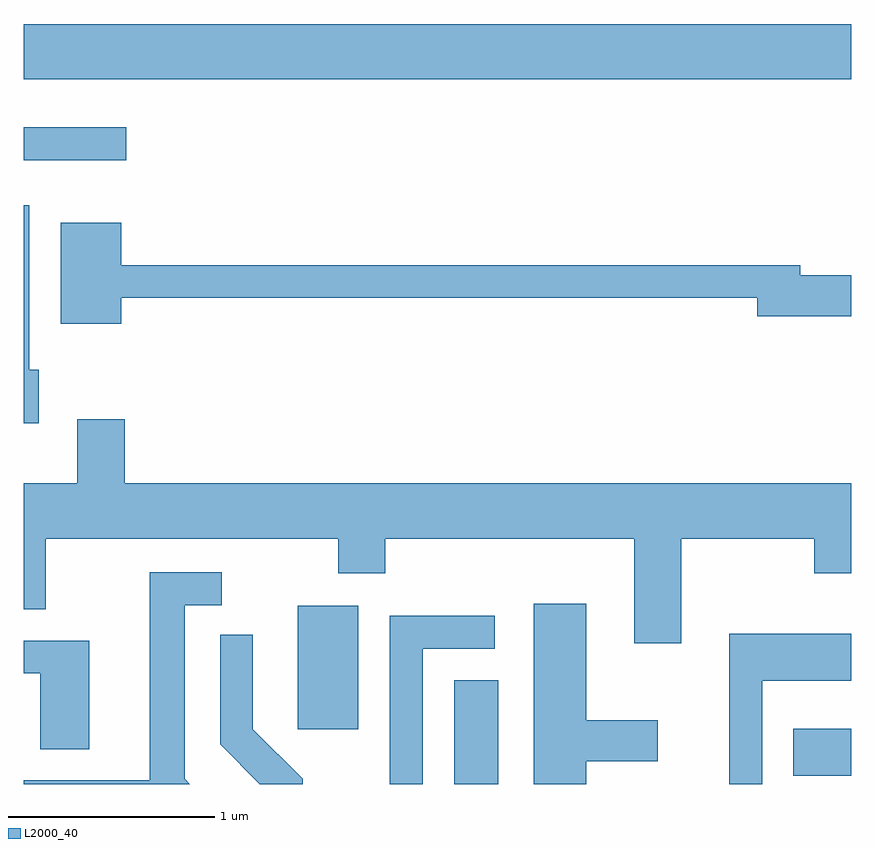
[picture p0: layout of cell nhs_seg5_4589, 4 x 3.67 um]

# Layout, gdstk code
import gdstk
lib = gdstk.Library(unit=1e-6, precision=1e-09)
def R(c, l, rs):  # rectangles x0, y0, x1, y1
    for r in rs: c.add(gdstk.rectangle(r[:2], r[2:], *l))
def P(c, l, *ps):  # polygons
    for p in ps: c.add(gdstk.Polygon(p, *l))
L2000_40 = (2000, 40)

nhs_seg5_4589 = lib.new_cell('nhs_seg5_4589')
R(nhs_seg5_4589, L2000_40, [(323.691,1440.072,323.904,1440.574), (325.331,1440.111,325.611,1440.339), (322.936,1440.336,323.229,1440.934), (321.611,1443.086,322.108,1443.244), (321.611,1443.476,325.611,1443.744)])
P(nhs_seg5_4589, L2000_40, [(321.684,1442.074),(321.639,1442.074),(321.639,1442.869),(321.611,1442.869),(321.611,1441.816),(321.684,1441.816)],
  [(322.084,1442.421),(325.156,1442.421),(325.156,1442.331),(325.611,1442.331),(325.611,1442.529),(325.364,1442.529),(325.364,1442.579),(322.084,1442.579),(322.084,1442.784),(321.791,1442.784),(321.791,1442.296),(322.084,1442.296)],
  [(324.789,1441.256),(325.431,1441.256),(325.431,1441.091),(325.611,1441.091),(325.611,1441.524),(322.099,1441.524),(322.099,1441.834),(321.871,1441.834),(321.871,1441.524),(321.611,1441.524),(321.611,1440.916),(321.719,1440.916),(321.719,1441.256),(323.131,1441.256),(323.131,1441.091),(323.359,1441.091),(323.359,1441.256),(324.561,1441.256),(324.561,1440.751),(324.789,1440.751)],
  [(322.389,1440.097),(322.389,1440.936),(322.568,1440.936),(322.568,1441.094),(322.221,1441.094),(322.221,1440.089),(321.611,1440.089),(321.611,1440.072),(322.414,1440.072)],
  [(324.329,1440.181),(324.674,1440.181),(324.674,1440.379),(324.329,1440.379),(324.329,1440.944),(324.076,1440.944),(324.076,1440.072),(324.329,1440.072)],
  [(323.539,1440.726),(323.888,1440.726),(323.888,1440.884),(323.381,1440.884),(323.381,1440.072),(323.539,1440.072)],
  [(325.179,1440.571),(325.611,1440.571),(325.611,1440.799),(325.021,1440.799),(325.021,1440.072),(325.179,1440.072)],
  [(322.959,1440.097),(322.719,1440.337),(322.719,1440.793),(322.561,1440.793),(322.561,1440.264),(322.753,1440.072),(322.959,1440.072)],
  [(321.929,1440.764),(321.611,1440.764),(321.611,1440.606),(321.691,1440.606),(321.691,1440.241),(321.929,1440.241)])

lib.write_gds('nhs_seg5_4589.gds')
